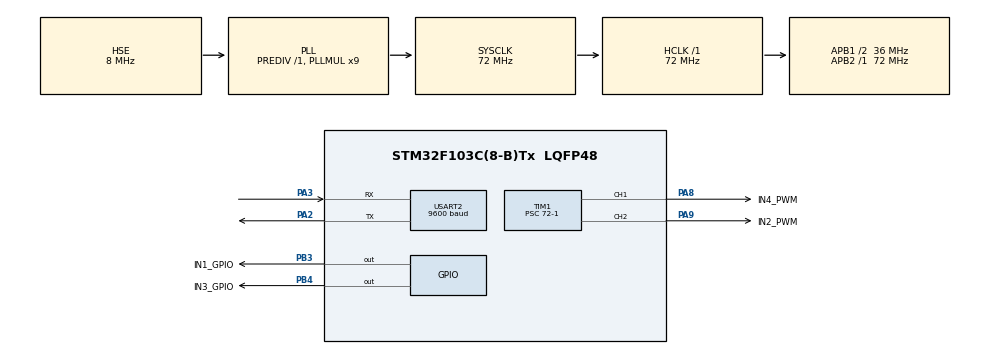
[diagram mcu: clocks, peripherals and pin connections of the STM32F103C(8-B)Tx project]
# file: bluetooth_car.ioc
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Mcu.Family=STM32F1
Mcu.Name=STM32F103C(8-B)Tx
Mcu.Package=LQFP48
NVIC.PriorityGroup=NVIC_PRIORITYGROUP_4
NVIC.USART2_IRQn=true\:0\:0\:false\:false\:true\:true\:true\:true
PA13.Mode=Serial_Wire
PA13.Signal=SYS_JTMS-SWDIO
PA14.Mode=Serial_Wire
PA14.Signal=SYS_JTCK-SWCLK
PA2.Mode=Asynchronous
PA2.Signal=USART2_TX
PA3.Mode=Asynchronous
PA3.Signal=USART2_RX
PA8.GPIO_Label=IN4_PWM
PA8.Signal=S_TIM1_CH1
PA9.GPIO_Label=IN2_PWM
PA9.Signal=S_TIM1_CH2
PB3.GPIO_Label=IN1_GPIO
PB3.GPIO_Speed=GPIO_SPEED_FREQ_HIGH
PB3.PinState=GPIO_PIN_RESET
PB3.Signal=GPIO_Output
PB4.GPIO_Label=IN3_GPIO
PB4.GPIO_Speed=GPIO_SPEED_FREQ_HIGH
PB4.PinState=GPIO_PIN_RESET
PB4.Signal=GPIO_Output
PD0-OSC_IN.Mode=HSE-External-Oscillator
PD0-OSC_IN.Signal=RCC_OSC_IN
PD1-OSC_OUT.Mode=HSE-External-Oscillator
PD1-OSC_OUT.Signal=RCC_OSC_OUT
ProjectManager.HeapSize=0x200
ProjectManager.StackSize=0x400
ProjectManager.TargetToolchain=STM32CubeIDE
RCC.AHBFreq_Value=72000000
RCC.APB1CLKDivider=RCC_HCLK_DIV2
RCC.APB1Freq_Value=36000000
RCC.APB1TimFreq_Value=72000000
RCC.APB2Freq_Value=72000000
RCC.APB2TimFreq_Value=72000000
RCC.HCLKFreq_Value=72000000
RCC.PLLMUL=RCC_PLL_MUL9
RCC.PLLSourceVirtual=RCC_PLLSOURCE_HSE
RCC.SYSCLKFreq_VALUE=72000000
RCC.SYSCLKSource=RCC_SYSCLKSOURCE_PLLCLK
RCC.USBFreq_Value=72000000
SH.S_TIM1_CH1.0=TIM1_CH1,PWM Generation1 CH1
SH.S_TIM1_CH2.0=TIM1_CH2,PWM Generation2 CH2
TIM1.Channel-PWM\ Generation1\ CH1=TIM_CHANNEL_1
TIM1.Channel-PWM\ Generation2\ CH2=TIM_CHANNEL_2
TIM1.Period=1000-1
TIM1.Prescaler=72-1
USART2.BaudRate=9600
USART2.Mode=MODE_RX
USART2.VirtualMode=VM_ASYNC
VP_TIM1_VS_ClockSourceINT.Mode=Internal
board=custom

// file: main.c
/* USER CODE BEGIN Header */
/**
  ******************************************************************************
  * @file           : main.c
  * @brief          : Main program body
  ******************************************************************************
  * @attention
  *
  * Copyright (c) 2024 STMicroelectronics.
  * All rights reserved.
  *
  * This software is licensed under terms that can be found in the LICENSE file
  * in the root directory of this software component.
  * If no LICENSE file comes with this software, it is provided AS-IS.
  *
  ******************************************************************************
  */
/* USER CODE END Header */
#include "main.h"

/* USER CODE BEGIN Includes */
#include "stdint.h"
/* USER CODE END Includes */

/* USER CODE BEGIN PTD */
typedef enum
{
	MOTOR_STOP,
	MOTOR_CW, // quay thuan chieu kim dong ho
	MOTOR_CCW,  // quay nguoc chieu kim dong ho
}MotorState;
/* USER CODE END PTD */

/* USER CODE BEGIN PD */
#define BUFFER_LEN 1
#define STOP_CTRL 0x00
#define MOVE_FORWARD 0x01
#define MOVE_BACKWARD 0x02
#define TURN_RIGHT 0x03
#define TURN_LEFT 0x04
/* USER CODE END PD */

TIM_HandleTypeDef htim1;

UART_HandleTypeDef huart2;

/* USER CODE BEGIN PV */
MotorState motor_state;
uint8_t Rx_buffer[BUFFER_LEN] = {0};
/* USER CODE END PV */

void SystemClock_Config(void);
static void MX_GPIO_Init(void);
static void MX_TIM1_Init(void);
static void MX_USART2_UART_Init(void);
/* USER CODE BEGIN PFP */
void pwm_set_duty(TIM_HandleTypeDef *htim, uint16_t channel,uint8_t duty);
void controlMotor1(MotorState state, uint8_t speed);
void controlMotor2(MotorState state, uint8_t speed);
/* USER CODE END PFP */

/* USER CODE BEGIN 0 */
void HAL_UART_RxCpltCallback(UART_HandleTypeDef *huart)
{
    if(huart->Instance == huart2.Instance)
    {
    	HAL_UART_Receive_IT(&huart2, Rx_buffer, BUFFER_LEN);
    }
}

void pwm_set_duty(TIM_HandleTypeDef *htim, uint16_t channel,uint8_t duty)
{
	uint16_t ccr = duty*(htim->Instance->ARR)/100;  //ratio division
	switch(channel)
	{
		case TIM_CHANNEL_1:
			htim->Instance->CCR1 = ccr;
			break;
		case TIM_CHANNEL_2:
			htim->Instance->CCR2 = ccr;
			break;
		case TIM_CHANNEL_3:
			htim->Instance->CCR3 = ccr;
			break;
		case TIM_CHANNEL_4:
			htim->Instance->CCR4 = ccr;
			break;
	}
}

//speed: 0->100
void controlMotor1(MotorState state, uint8_t speed)
{
	switch(state)
	{
		case MOTOR_STOP:
			HAL_GPIO_WritePin(GPIOB, GPIO_PIN_3, GPIO_PIN_RESET);
			pwm_set_duty(&htim1, TIM_CHANNEL_2, 0);
			break;
		case MOTOR_CW:
			HAL_GPIO_WritePin(GPIOB, GPIO_PIN_3, GPIO_PIN_SET); //in1
			pwm_set_duty(&htim1, TIM_CHANNEL_2, 100-speed); //in 2
			break;
		case MOTOR_CCW:
			HAL_GPIO_WritePin(GPIOB, GPIO_PIN_3, GPIO_PIN_RESET); //in1
			pwm_set_duty(&htim1, TIM_CHANNEL_2, speed);
			break;
	}
}

void controlMotor2(MotorState state, uint8_t speed)
{
	switch(state)
	{
		case MOTOR_STOP:
			HAL_GPIO_WritePin(GPIOB, GPIO_PIN_4 , GPIO_PIN_RESET);
			pwm_set_duty(&htim1, TIM_CHANNEL_1, 0);
			break;
		case MOTOR_CW:
			HAL_GPIO_WritePin(GPIOB, GPIO_PIN_4 , GPIO_PIN_SET); //in3
			pwm_set_duty(&htim1, TIM_CHANNEL_1, 100-speed); //in 4
			break;
		case MOTOR_CCW:
			HAL_GPIO_WritePin(GPIOB, GPIO_PIN_4 , GPIO_PIN_RESET); //ins3
			pwm_set_duty(&htim1, TIM_CHANNEL_1, speed);
			break;
	}
}
/* USER CODE END 0 */

int main(void)
{

  /* MCU Configuration--------------------------------------------------------*/

  /* Reset of all peripherals, Initializes the Flash interface and the Systick. */
  HAL_Init();

  /* Configure the system clock */
  SystemClock_Config();

  /* Initialize all configured peripherals */
  MX_GPIO_Init();
  MX_TIM1_Init();
  MX_USART2_UART_Init();
  /* USER CODE BEGIN 2 */
  HAL_TIM_PWM_Start(&htim1,TIM_CHANNEL_1);
  HAL_TIM_PWM_Start(&htim1,TIM_CHANNEL_2);
  HAL_UART_Receive_IT(&huart2,Rx_buffer,BUFFER_LEN);

  controlMotor1(MOTOR_STOP, 0);
  controlMotor2(MOTOR_STOP, 0);
  /* USER CODE END 2 */

  /* Infinite loop */
  /* USER CODE BEGIN WHILE */
  while (1)
  {
	switch(Rx_buffer[0])
	{
		case MOVE_FORWARD: //forward
			controlMotor1(MOTOR_CW, 50);
			controlMotor2(MOTOR_CW, 50);
		  	break;
		case MOVE_BACKWARD: //backward
		  	controlMotor1(MOTOR_CCW, 50);
		  	controlMotor2(MOTOR_CCW, 50);
		  	break;
		case STOP_CTRL: //stop
			controlMotor1(MOTOR_STOP, 0);
			controlMotor2(MOTOR_STOP, 0);
			break;
		case TURN_LEFT:
			controlMotor1(MOTOR_CW, 50); //check if it the right wheel to turn left
			break;
		case TURN_RIGHT:
			controlMotor2(MOTOR_CW, 50); //check if it the right wheel to turn right
			break;
		default:
		  	controlMotor1(MOTOR_STOP, 0);
		  	controlMotor2(MOTOR_STOP, 0);
		  	break;
	}

    /* USER CODE END WHILE */

  }
}

void SystemClock_Config(void)
{
  RCC_OscInitTypeDef RCC_OscInitStruct = {0};
  RCC_ClkInitTypeDef RCC_ClkInitStruct = {0};

  /** Initializes the RCC Oscillators according to the specified parameters
  * in the RCC_OscInitTypeDef structure.
  */
  RCC_OscInitStruct.OscillatorType = RCC_OSCILLATORTYPE_HSE;
  RCC_OscInitStruct.HSEState = RCC_HSE_ON;
  RCC_OscInitStruct.HSEPredivValue = RCC_HSE_PREDIV_DIV1;
  RCC_OscInitStruct.HSIState = RCC_HSI_ON;
  RCC_OscInitStruct.PLL.PLLState = RCC_PLL_ON;
  RCC_OscInitStruct.PLL.PLLSource = RCC_PLLSOURCE_HSE;
  RCC_OscInitStruct.PLL.PLLMUL = RCC_PLL_MUL9;
  if (HAL_RCC_OscConfig(&RCC_OscInitStruct) != HAL_OK)
  {
    Error_Handler();
  }

  /** Initializes the CPU, AHB and APB buses clocks
  */
  RCC_ClkInitStruct.ClockType = RCC_CLOCKTYPE_HCLK|RCC_CLOCKTYPE_SYSCLK
                              |RCC_CLOCKTYPE_PCLK1|RCC_CLOCKTYPE_PCLK2;
  RCC_ClkInitStruct.SYSCLKSource = RCC_SYSCLKSOURCE_PLLCLK;
  RCC_ClkInitStruct.AHBCLKDivider = RCC_SYSCLK_DIV1;
  RCC_ClkInitStruct.APB1CLKDivider = RCC_HCLK_DIV2;
  RCC_ClkInitStruct.APB2CLKDivider = RCC_HCLK_DIV1;

  if (HAL_RCC_ClockConfig(&RCC_ClkInitStruct, FLASH_LATENCY_2) != HAL_OK)
  {
    Error_Handler();
  }
}

static void MX_TIM1_Init(void)
{

  TIM_ClockConfigTypeDef sClockSourceConfig = {0};
  TIM_MasterConfigTypeDef sMasterConfig = {0};
  TIM_OC_InitTypeDef sConfigOC = {0};
  TIM_BreakDeadTimeConfigTypeDef sBreakDeadTimeConfig = {0};

  htim1.Instance = TIM1;
  htim1.Init.Prescaler = 72-1;
  htim1.Init.CounterMode = TIM_COUNTERMODE_UP;
  htim1.Init.Period = 1000-1;
  htim1.Init.ClockDivision = TIM_CLOCKDIVISION_DIV1;
  htim1.Init.RepetitionCounter = 0;
  htim1.Init.AutoReloadPreload = TIM_AUTORELOAD_PRELOAD_DISABLE;
  if (HAL_TIM_Base_Init(&htim1) != HAL_OK)
  {
    Error_Handler();
  }
  sClockSourceConfig.ClockSource = TIM_CLOCKSOURCE_INTERNAL;
  if (HAL_TIM_ConfigClockSource(&htim1, &sClockSourceConfig) != HAL_OK)
  {
    Error_Handler();
  }
  if (HAL_TIM_PWM_Init(&htim1) != HAL_OK)
  {
    Error_Handler();
  }
  sMasterConfig.MasterOutputTrigger = TIM_TRGO_RESET;
  sMasterConfig.MasterSlaveMode = TIM_MASTERSLAVEMODE_DISABLE;
  if (HAL_TIMEx_MasterConfigSynchronization(&htim1, &sMasterConfig) != HAL_OK)
  {
    Error_Handler();
  }
  sConfigOC.OCMode = TIM_OCMODE_PWM1;
  sConfigOC.Pulse = 0;
  sConfigOC.OCPolarity = TIM_OCPOLARITY_HIGH;
  sConfigOC.OCNPolarity = TIM_OCNPOLARITY_HIGH;
  sConfigOC.OCFastMode = TIM_OCFAST_DISABLE;
  sConfigOC.OCIdleState = TIM_OCIDLESTATE_RESET;
  sConfigOC.OCNIdleState = TIM_OCNIDLESTATE_RESET;
  if (HAL_TIM_PWM_ConfigChannel(&htim1, &sConfigOC, TIM_CHANNEL_1) != HAL_OK)
  {
    Error_Handler();
  }
  if (HAL_TIM_PWM_ConfigChannel(&htim1, &sConfigOC, TIM_CHANNEL_2) != HAL_OK)
  {
    Error_Handler();
  }
  sBreakDeadTimeConfig.OffStateRunMode = TIM_OSSR_DISABLE;
  sBreakDeadTimeConfig.OffStateIDLEMode = TIM_OSSI_DISABLE;
  sBreakDeadTimeConfig.LockLevel = TIM_LOCKLEVEL_OFF;
  sBreakDeadTimeConfig.DeadTime = 0;
  sBreakDeadTimeConfig.BreakState = TIM_BREAK_DISABLE;
  sBreakDeadTimeConfig.BreakPolarity = TIM_BREAKPOLARITY_HIGH;
  sBreakDeadTimeConfig.AutomaticOutput = TIM_AUTOMATICOUTPUT_DISABLE;
  if (HAL_TIMEx_ConfigBreakDeadTime(&htim1, &sBreakDeadTimeConfig) != HAL_OK)
  {
    Error_Handler();
  }
  HAL_TIM_MspPostInit(&htim1);

}

static void MX_USART2_UART_Init(void)
{

  huart2.Instance = USART2;
  huart2.Init.BaudRate = 9600;
  huart2.Init.WordLength = UART_WORDLENGTH_8B;
  huart2.Init.StopBits = UART_STOPBITS_1;
  huart2.Init.Parity = UART_PARITY_NONE;
  huart2.Init.Mode = UART_MODE_RX;
  huart2.Init.HwFlowCtl = UART_HWCONTROL_NONE;
  huart2.Init.OverSampling = UART_OVERSAMPLING_16;
  if (HAL_UART_Init(&huart2) != HAL_OK)
  {
    Error_Handler();
  }

}

static void MX_GPIO_Init(void)
{
  GPIO_InitTypeDef GPIO_InitStruct = {0};

  /* GPIO Ports Clock Enable */
  __HAL_RCC_GPIOD_CLK_ENABLE();
  __HAL_RCC_GPIOA_CLK_ENABLE();
  __HAL_RCC_GPIOB_CLK_ENABLE();

  /*Configure GPIO pin Output Level */
  HAL_GPIO_WritePin(GPIOB, IN1_GPIO_Pin|IN3_GPIO_Pin, GPIO_PIN_RESET);

  /*Configure GPIO pins : IN1_GPIO_Pin IN3_GPIO_Pin */
  GPIO_InitStruct.Pin = IN1_GPIO_Pin|IN3_GPIO_Pin;
  GPIO_InitStruct.Mode = GPIO_MODE_OUTPUT_PP;
  GPIO_InitStruct.Pull = GPIO_NOPULL;
  GPIO_InitStruct.Speed = GPIO_SPEED_FREQ_HIGH;
  HAL_GPIO_Init(GPIOB, &GPIO_InitStruct);

}

void Error_Handler(void)
{
  __disable_irq();
  while (1)
  {
  }
}
